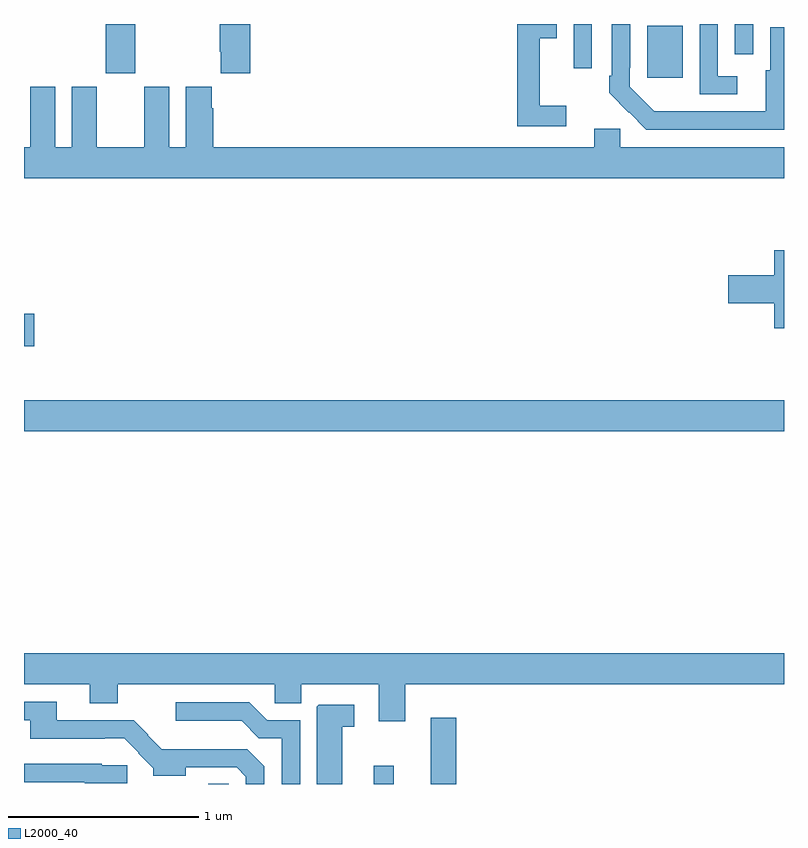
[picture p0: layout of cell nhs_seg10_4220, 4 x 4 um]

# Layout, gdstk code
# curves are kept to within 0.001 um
import gdstk
lib = gdstk.Library(unit=1e-6, precision=1e-09)
def R(c, l, rs):  # rectangles x0, y0, x1, y1
    for r in rs: c.add(gdstk.rectangle(r[:2], r[2:], *l))
def P(c, l, *ps):  # polygons
    for p in ps: c.add(gdstk.Polygon(p, *l))
L2000_40 = (2000, 40)

nhs_seg10_4220 = lib.new_cell('nhs_seg10_4220')
R(nhs_seg10_4220, L2000_40, [(347.97,1258.5,348.078,1258.502), (348.842,1258.5,348.946,1258.597), (349.142,1258.5,349.274,1258.849), (347,1260.356,351,1260.52), (347,1260.803,347.053,1260.974), (350.279,1262.217,350.467,1262.491), (347.431,1262.241,347.586,1262.5), (349.893,1262.268,349.989,1262.5), (350.742,1262.34,350.838,1262.5)])
P(nhs_seg10_4220, L2000_40, [(351,1262.482),(350.927,1262.482),(350.927,1262.256),(350.903,1262.256),(350.903,1262.04),(350.316,1262.041),(350.187,1262.169),(350.187,1262.269),(350.19,1262.269),(350.19,1262.5),(350.094,1262.5),(350.094,1262.227),(350.079,1262.227),(350.079,1262.139),(350.276,1261.944),(351,1261.944)],
  [(348.191,1262.5),(348.031,1262.5),(348.031,1262.353),(348.035,1262.353),(348.035,1262.241),(348.191,1262.241)],
  [(349.855,1262.071),(349.715,1262.071),(349.715,1262.426),(349.804,1262.426),(349.804,1262.5),(349.597,1262.5),(349.597,1261.962),(349.855,1261.962)],
  [(350.755,1262.226),(350.652,1262.226),(350.652,1262.5),(350.556,1262.5),(350.556,1262.13),(350.755,1262.13)],
  [(351,1261.852),(350.139,1261.852),(350.139,1261.95),(350,1261.95),(350,1261.852),(347.996,1261.852),(347.996,1262.057),(347.989,1262.057),(347.989,1262.17),(347.852,1262.17),(347.852,1261.852),(347.764,1261.852),(347.764,1262.17),(347.633,1262.17),(347.633,1261.852),(347.383,1261.852),(347.383,1262.17),(347.252,1262.17),(347.252,1261.852),(347.164,1261.852),(347.164,1262.17),(347.033,1262.17),(347.033,1261.852),(347,1261.852),(347,1261.688),(351,1261.688)],
  [(351,1261.309),(350.948,1261.309),(350.948,1261.178),(350.706,1261.178),(350.706,1261.031),(350.948,1261.031),(350.948,1260.899),(351,1260.899)],
  [(349.006,1259.024),(351,1259.024),(351,1259.188),(347,1259.188),(347,1259.024),(347.345,1259.024),(347.345,1258.925),(347.493,1258.925),(347.493,1259.024),(348.321,1259.024),(348.321,1258.926),(348.46,1258.926),(348.46,1259.024),(348.866,1259.024),(348.866,1258.83),(349.006,1258.83)],
  [(348.264,1258.593),(348.175,1258.682),(348.059,1258.682),(348.059,1258.684),(347.725,1258.684),(347.651,1258.757),(347.653,1258.759),(347.577,1258.836),(347.173,1258.836),(347.173,1258.932),(347,1258.932),(347,1258.836),(347.033,1258.836),(347.033,1258.739),(347.426,1258.739),(347.426,1258.742),(347.528,1258.742),(347.604,1258.665),(347.601,1258.662),(347.68,1258.584),(347.68,1258.544),(347.851,1258.544),(347.851,1258.587),(348.12,1258.587),(348.168,1258.539),(348.168,1258.5),(348.264,1258.5)],
  [(348.453,1258.836),(348.279,1258.836),(348.186,1258.929),(347.799,1258.929),(347.799,1258.832),(348.145,1258.832),(348.236,1258.741),(348.357,1258.741),(348.357,1258.5),(348.453,1258.5)],
  [(348.676,1258.801),(348.739,1258.801),(348.739,1258.917),(348.552,1258.917),(348.542,1258.907),(348.542,1258.5),(348.676,1258.5)],
  [(347.544,1258.599),(347.409,1258.599),(347.409,1258.606),(347,1258.606),(347,1258.509),(347.319,1258.509),(347.319,1258.503),(347.544,1258.503)])

lib.write_gds('nhs_seg10_4220.gds')
